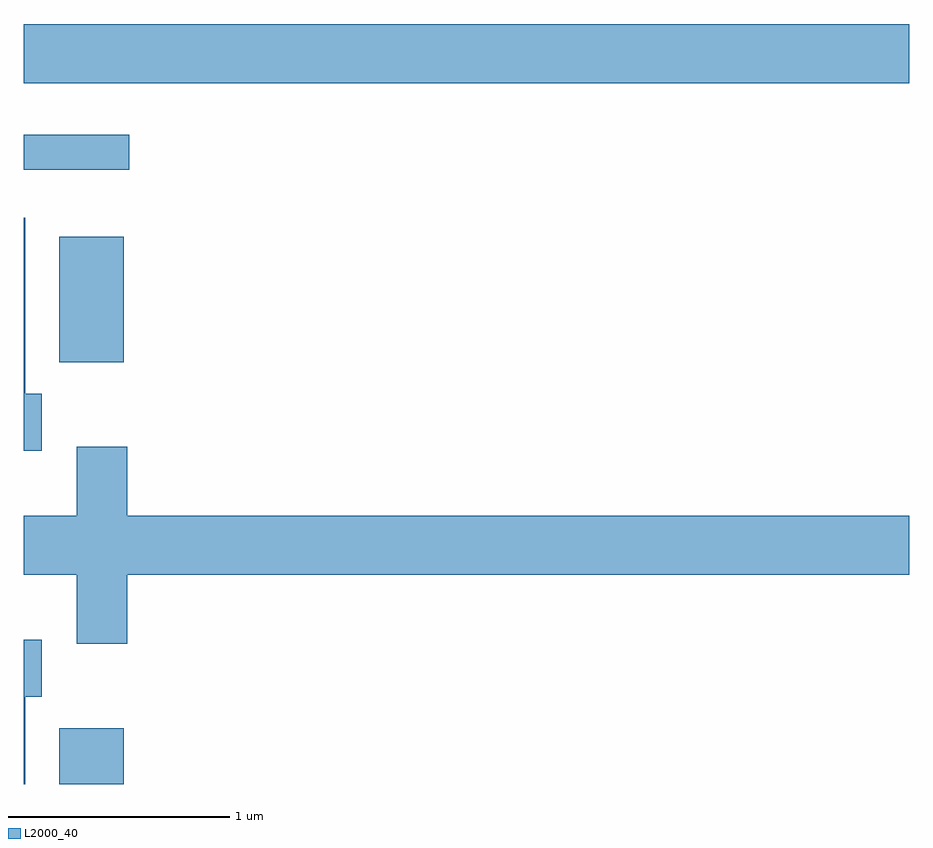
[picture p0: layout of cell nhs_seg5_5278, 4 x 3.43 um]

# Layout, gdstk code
import gdstk
lib = gdstk.Library(unit=1e-6, precision=1e-09)
def R(c, l, rs):  # rectangles x0, y0, x1, y1
    for r in rs: c.add(gdstk.rectangle(r[:2], r[2:], *l))
def P(c, l, *ps):  # polygons
    for p in ps: c.add(gdstk.Polygon(p, *l))
L2000_40 = (2000, 40)

nhs_seg5_5278 = lib.new_cell('nhs_seg5_5278')
R(nhs_seg5_5278, L2000_40, [(341.771,1458.072,342.064,1458.324), (341.771,1459.976,342.064,1460.544), (341.611,1460.846,342.088,1461.004), (341.611,1461.236,345.611,1461.504)])
P(nhs_seg5_5278, L2000_40, [(341.694,1459.834),(341.619,1459.834),(341.619,1460.629),(341.611,1460.629),(341.611,1459.576),(341.694,1459.576)],
  [(342.079,1459.016),(345.611,1459.016),(345.611,1459.284),(342.079,1459.284),(342.079,1459.594),(341.851,1459.594),(341.851,1459.284),(341.611,1459.284),(341.611,1459.016),(341.851,1459.016),(341.851,1458.706),(342.079,1458.706)],
  [(341.619,1458.466),(341.694,1458.466),(341.694,1458.724),(341.611,1458.724),(341.611,1458.072),(341.619,1458.072)])

lib.write_gds('nhs_seg5_5278.gds')
